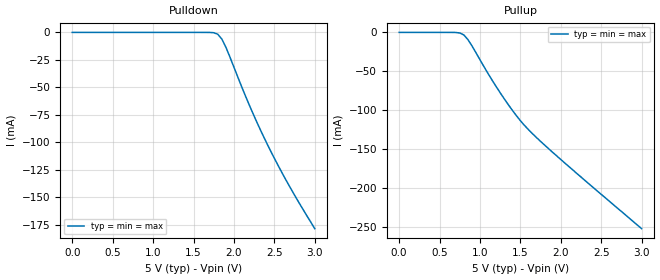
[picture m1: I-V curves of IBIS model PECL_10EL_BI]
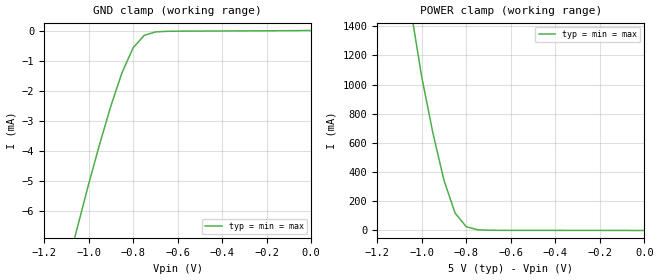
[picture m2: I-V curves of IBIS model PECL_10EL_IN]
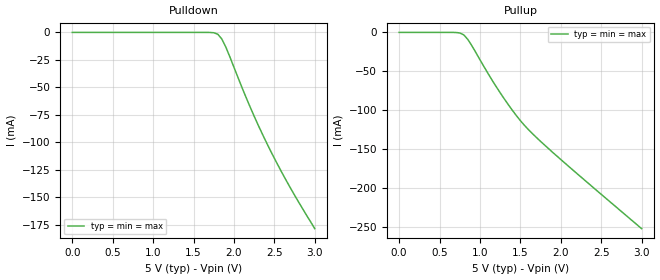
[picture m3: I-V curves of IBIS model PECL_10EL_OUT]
[Ibis Ver]	3.2
[File Name]	tech_pecl_10el.ibs
[File Rev]	0.5
[Date]	Sun Jan  5 18:26:30 2020
[Notes]	This file is automatically generated and may not fully comply
   with some of the name length and numerical size restrictions in the
   IBIS Specification.  These length and size violations can be
   detected with the IBIS Open Forum ibischk3 utility, and the
   violations may need to be corrected before the file can be
   used outide of the ICX environment.
[Component]	tech_pecl_10el
[Manufacturer] 	Mentor Graphics ICX-Pro
[Package]
|		typ		min		max
R_pkg		0.0		0.0		0.0
L_pkg		3.000000nH		NA		NA
C_pkg		2.000000pF		NA		NA
[Pin]	signal_name	model_name	R_pin	L_pin	C_pin
i	Input		PECL_10EL_IN
o	Output		PECL_10EL_OUT
tri	Output		PECL_10EL_OUT
oc	Output		PECL_10EL_OUT
oe	Output		PECL_10EL_OUT
bi	Bidirectional		PECL_10EL_BI
bi_oc	Bidirectional		PECL_10EL_BI
bi_oe	Bidirectional		PECL_10EL_BI
| Models and submodels in the file (3): PECL_10EL_BI (I/O_ECL), PECL_10EL_IN (Input_ECL), PECL_10EL_OUT (Output_ECL)
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[Model]		PECL_10EL_BI
Model_type	I/O_ECL
Polarity	Non-Inverting
Enable		Active-High
Vmeas = 3.710000V
Cref = 0.0F
Vref = 3.000000V
Rref = 50.000000
Vinl = 3.520000V
Vinh = 3.870000V
|		typ		min		max
C_comp		2.900000pF		2.000000pF		8.000000pF
|			typ		min		max
[voltage range]	5.000000V		4.500000V		5.500000V
[Pulldown]
|	Voltage		I(typ)		I(min)		I(max)
0V        5uA        5uA        5uA
1.7V      -44.12uA   -44.12uA   -44.12uA
1.75V     -291.2uA   -291.2uA   -291.2uA
1.8V      -1.643mA   -1.643mA   -1.643mA
1.85V     -5.981mA   -5.981mA   -5.981mA
1.9V      -13.38mA   -13.38mA   -13.38mA
2.2V      -67.72mA   -67.72mA   -67.72mA
2.3V      -84.23mA   -84.23mA   -84.23mA
2.45V     -107.2mA   -107.2mA   -107.2mA
2.7V      -141.5mA   -141.5mA   -141.5mA
3V        -178.4mA   -178.4mA   -178.4mA
[Pullup]
|	Voltage		I(typ)		I(min)		I(max)
0V        5uA        5uA        5uA
700mV     -110.1uA   -110.1uA   -110.1uA
750mV     -690.9uA   -690.9uA   -690.9uA
800mV     -3.236mA   -3.236mA   -3.236mA
850mV     -9.07mA    -9.07mA    -9.07mA
900mV     -17.11mA   -17.11mA   -17.11mA
1.1V      -52.72mA   -52.72mA   -52.72mA
1.25V     -77.36mA   -77.36mA   -77.36mA
1.4V      -99.73mA   -99.73mA   -99.73mA
1.55V     -119.1mA   -119.1mA   -119.1mA
1.9V      -153.8mA   -153.8mA   -153.8mA
3V        -251.5mA   -251.5mA   -251.5mA
[Ramp]
|  variable	typ		min		max
dV/dt_r		1.5/0.220000ns	1.5/0.220000ns	1.5/0.220000ns
dV/dt_f		2/0.220000ns	2/0.220000ns	2/0.220000ns
R_load = 	50Ohms
[Model]		PECL_10EL_IN
Model_type	Input_ECL
Polarity	Non-Inverting
Enable		Active-High
Vinl = 3.520000V
Vinh = 3.870000V
|		typ		min		max
C_comp		2.900000pF		2.000000pF		6.000000pF
|			typ		min		max
[voltage range]	5.000000V		4.500000V		5.500000V
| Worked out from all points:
|   GND clamp passes 1 mA (typ) near -0.83 V on its own axis
|   POWER clamp passes 1 mA (typ) near -0.61 V on its own axis
[Gnd Clamp]
|	Voltage		I(typ)		I(min)		I(max)
-5V       -116.9mA   -116.9mA   -116.9mA
-2V       -33.56mA   -33.56mA   -33.56mA
-1V       -5.1mA     -5.1mA     -5.1mA
-950mV    -3.762mA   -3.762mA   -3.762mA
-900mV    -2.506mA   -2.506mA   -2.506mA
-850mV    -1.4mA     -1.4mA     -1.4mA
-800mV    -572.8uA   -572.8uA   -572.8uA
-750mV    -157uA     -157uA     -157uA
-700mV    -45.22uA   -45.22uA   -45.22uA
-650mV    -24.87uA   -24.87uA   -24.87uA
0V        0A         0A         0A
[Power Clamp]
|	Voltage		I(typ)		I(min)		I(max)
-2V       10.46A     10.46A     10.46A
-1V       1.054A     1.054A     1.054A
-950mV    670.7mA    670.7mA    670.7mA
-900mV    343.9mA    343.9mA    343.9mA
-850mV    119.4mA    119.4mA    119.4mA
-800mV    25.75mA    25.75mA    25.75mA
-750mV    4.996mA    4.996mA    4.996mA
-700mV    1.648mA    1.648mA    1.648mA
0V        0A         0A         0A
[Model]		PECL_10EL_OUT
Model_type	Output_ECL
Polarity	Non-Inverting
Enable		Active-High
Vmeas = 3.710000V
Cref = 0.0F
Vref = 3.000000V
Rref = 50.000000
|		typ		min		max
C_comp		2.900000pF		2.000000pF		8.000000pF
|			typ		min		max
[voltage range]	5.000000V		4.500000V		5.500000V
[Pulldown]
|	Voltage		I(typ)		I(min)		I(max)
0V        5uA        5uA        5uA
1.7V      -44.12uA   -44.12uA   -44.12uA
1.75V     -291.2uA   -291.2uA   -291.2uA
1.8V      -1.643mA   -1.643mA   -1.643mA
1.85V     -5.981mA   -5.981mA   -5.981mA
1.9V      -13.38mA   -13.38mA   -13.38mA
2.2V      -67.72mA   -67.72mA   -67.72mA
2.3V      -84.23mA   -84.23mA   -84.23mA
2.45V     -107.2mA   -107.2mA   -107.2mA
2.7V      -141.5mA   -141.5mA   -141.5mA
3V        -178.4mA   -178.4mA   -178.4mA
[Pullup]
|	Voltage		I(typ)		I(min)		I(max)
0V        5uA        5uA        5uA
700mV     -110.1uA   -110.1uA   -110.1uA
750mV     -690.9uA   -690.9uA   -690.9uA
800mV     -3.236mA   -3.236mA   -3.236mA
850mV     -9.07mA    -9.07mA    -9.07mA
900mV     -17.11mA   -17.11mA   -17.11mA
1.1V      -52.72mA   -52.72mA   -52.72mA
1.25V     -77.36mA   -77.36mA   -77.36mA
1.4V      -99.73mA   -99.73mA   -99.73mA
1.55V     -119.1mA   -119.1mA   -119.1mA
1.9V      -153.8mA   -153.8mA   -153.8mA
3V        -251.5mA   -251.5mA   -251.5mA
[Ramp]
|  variable	typ		min		max
dV/dt_r		1.5/0.220000ns	1.5/0.220000ns	1.5/0.220000ns
dV/dt_f		2/0.220000ns	2/0.220000ns	2/0.220000ns
R_load = 	50Ohms
